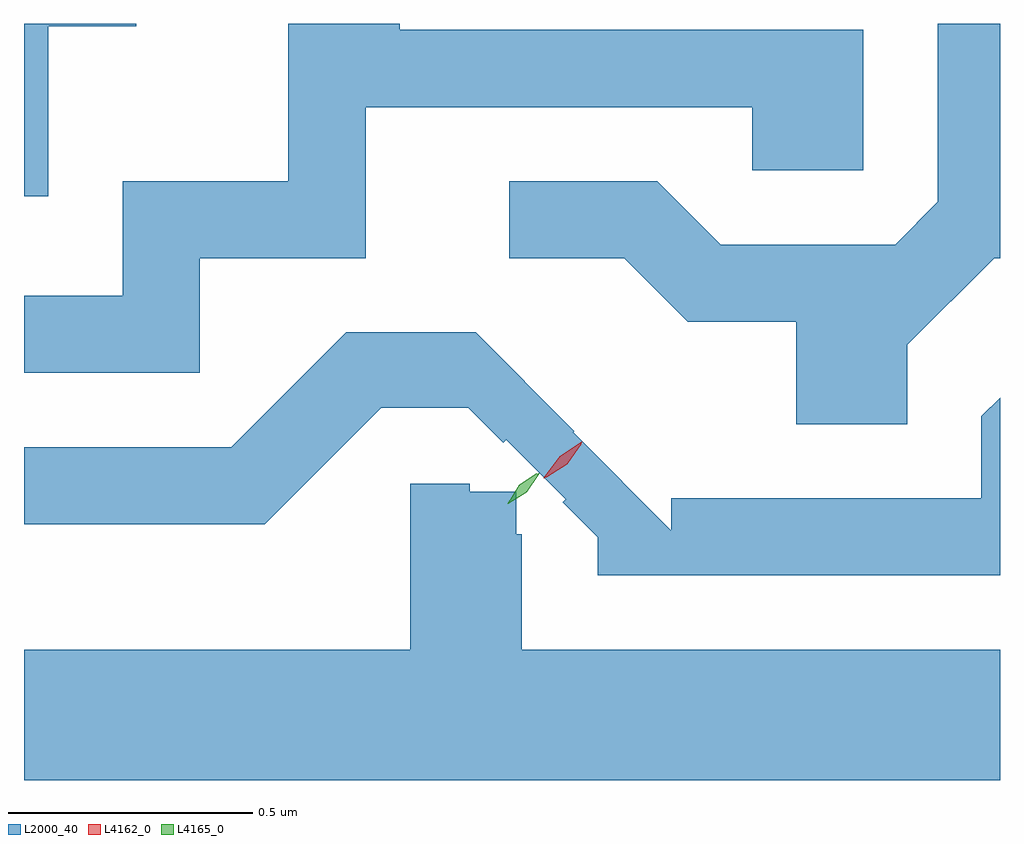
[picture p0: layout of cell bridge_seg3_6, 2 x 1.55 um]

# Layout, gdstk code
import gdstk
lib = gdstk.Library(unit=1e-6, precision=1e-09)
def P(c, l, *ps):  # polygons
    for p in ps: c.add(gdstk.Polygon(p, *l))
L2000_40 = (2000, 40)
L4162_0 = (4162, 0)
L4165_0 = (4165, 0)

bridge_seg3_6 = lib.new_cell('bridge_seg3_6')
P(bridge_seg3_6, L2000_40, [(1881.489,1182.586),(1881.829,1182.586),(1881.829,1182.896),(1882.621,1182.896),(1882.621,1182.766),(1882.849,1182.766),(1882.849,1183.054),(1881.899,1183.054),(1881.899,1183.067),(1881.671,1183.067),(1881.671,1182.744),(1881.331,1182.744),(1881.331,1182.509),(1881.129,1182.509),(1881.129,1182.351),(1881.489,1182.351)],
  [(1881.179,1183.061),(1881.359,1183.061),(1881.359,1183.067),(1881.129,1183.067),(1881.129,1182.713),(1881.179,1182.713)],
  [(1882.939,1182.409),(1883.117,1182.586),(1883.129,1182.586),(1883.129,1183.067),(1883.001,1183.067),(1883.001,1182.702),(1882.914,1182.614),(1882.557,1182.614),(1882.427,1182.744),(1882.123,1182.744),(1882.123,1182.586),(1882.359,1182.586),(1882.489,1182.456),(1882.711,1182.456),(1882.711,1182.246),(1882.939,1182.246)],
  [(1883.129,1182.3),(1883.091,1182.262),(1883.091,1182.094),(1882.455,1182.094),(1882.455,1182.028),(1882.254,1182.229),(1882.257,1182.232),(1882.055,1182.434),(1881.789,1182.434),(1881.554,1182.199),(1881.129,1182.199),(1881.129,1182.041),(1881.622,1182.041),(1881.861,1182.28),(1882.039,1182.28),(1882.111,1182.208),(1882.117,1182.214),(1882.239,1182.092),(1882.233,1182.086),(1882.305,1182.014),(1882.305,1181.936),(1883.129,1181.936)],
  [(1883.129,1181.784),(1882.149,1181.784),(1882.149,1182.02),(1882.138,1182.02),(1882.138,1182.108),(1882.042,1182.108),(1882.042,1182.124),(1881.921,1182.124),(1881.921,1181.784),(1881.129,1181.784),(1881.129,1181.516),(1883.129,1181.516)])
P(bridge_seg3_6, L4162_0, [(1882.194,1182.135),(1882.194,1182.136),(1882.227,1182.18),(1882.272,1182.21),(1882.273,1182.21),(1882.273,1182.21),(1882.24,1182.166),(1882.195,1182.135)],
  [(1882.199,1182.137),(1882.199,1182.138),(1882.228,1182.178),(1882.271,1182.206),(1882.271,1182.206),(1882.271,1182.205),(1882.242,1182.164),(1882.2,1182.137)])
P(bridge_seg3_6, L4165_0, [(1882.12,1182.083),(1882.12,1182.084),(1882.146,1182.121),(1882.184,1182.145),(1882.185,1182.145),(1882.185,1182.144),(1882.159,1182.107),(1882.121,1182.083)],
  [(1882.122,1182.085),(1882.122,1182.086),(1882.144,1182.122),(1882.18,1182.145),(1882.18,1182.145),(1882.18,1182.144),(1882.158,1182.108),(1882.123,1182.085)])

lib.write_gds('bridge_seg3_6.gds')
